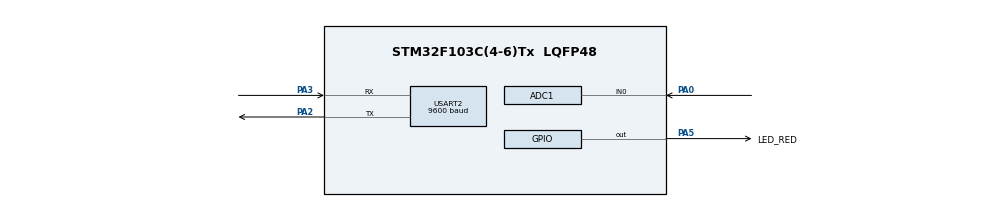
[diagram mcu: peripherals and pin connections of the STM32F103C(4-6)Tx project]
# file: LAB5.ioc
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ADC1.Channel-0\#ChannelRegularConversion=ADC_CHANNEL_0
ADC1.ContinuousConvMode=ENABLE
ADC1.NbrOfConversionFlag=1
ADC1.Rank-0\#ChannelRegularConversion=1
ADC1.SamplingTime-0\#ChannelRegularConversion=ADC_SAMPLETIME_1CYCLE_5
ADC1.master=1
Mcu.Family=STM32F1
Mcu.Name=STM32F103C(4-6)Tx
Mcu.Package=LQFP48
NVIC.PriorityGroup=NVIC_PRIORITYGROUP_4
NVIC.TIM2_IRQn=true\:0\:0\:false\:false\:true\:true\:true
NVIC.USART2_IRQn=true\:0\:0\:false\:false\:true\:true\:true
PA0-WKUP.Signal=ADCx_IN0
PA13.Mode=Serial_Wire
PA13.Signal=SYS_JTMS-SWDIO
PA14.Mode=Serial_Wire
PA14.Signal=SYS_JTCK-SWCLK
PA2.Mode=Asynchronous
PA2.Signal=USART2_TX
PA3.Mode=Asynchronous
PA3.Signal=USART2_RX
PA5.GPIO_Label=LED_RED
PA5.Signal=GPIO_Output
ProjectManager.HeapSize=0x200
ProjectManager.StackSize=0x400
ProjectManager.TargetToolchain=STM32CubeIDE
RCC.APB1Freq_Value=8000000
RCC.APB2Freq_Value=8000000
SH.ADCx_IN0.0=ADC1_IN0,IN0
TIM2.Period=9
TIM2.Prescaler=7999
USART2.BaudRate=9600
USART2.VirtualMode=VM_ASYNC
VP_TIM2_VS_ClockSourceINT.Mode=Internal
board=custom

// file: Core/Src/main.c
/* USER CODE BEGIN Header */
/**
  ******************************************************************************
  * @file           : main.c
  * @brief          : Main program body
  ******************************************************************************
  * @attention
  *
  * <h2><center>&copy; Copyright (c) 2023 STMicroelectronics.
  * All rights reserved.</center></h2>
  *
  * This software component is licensed by ST under BSD 3-Clause license,
  * the "License"; You may not use this file except in compliance with the
  * License. You may obtain a copy of the License at:
  *                        opensource.org/licenses/BSD-3-Clause
  *
  ******************************************************************************
  */
/* USER CODE END Header */
#include "main.h"

/* USER CODE BEGIN Includes */
#include "command_parser_fsm.h"
#include "uart_communiation_fsm.h"
/* USER CODE END Includes */

ADC_HandleTypeDef hadc1;
UART_HandleTypeDef huart2;
TIM_HandleTypeDef htim2;

void SystemClock_Config(void);
static void MX_GPIO_Init(void);
static void MX_ADC1_Init(void);
static void MX_USART2_UART_Init(void);
static void MX_TIM2_Init(void);

/* USER CODE BEGIN 0 */

void HAL_UART_RxCpltCallback(UART_HandleTypeDef *huart){
	if(huart->Instance == USART2){
		HAL_UART_Transmit(&huart2, &tmp, 1, 50);
		buffer[index_buffer ++] = tmp ;
		if(index_buffer == 30) index_buffer = 0;
		buffer_flag = 1;
		HAL_UART_Receive_IT(&huart2, &tmp, 1);
	  }
  }
/* USER CODE END 0 */

int main(void)
{

  /* MCU Configuration--------------------------------------------------------*/

  /* Reset of all peripherals, Initializes the Flash interface and the Systick. */
  HAL_Init();

  /* Configure the system clock */
  SystemClock_Config();

  /* Initialize all configured peripherals */
  MX_GPIO_Init();
  MX_ADC1_Init();
  MX_USART2_UART_Init();
  MX_TIM2_Init();
  /* USER CODE BEGIN 2 */
  HAL_TIM_Base_Start_IT(&htim2);
  HAL_ADC_Start(&hadc1);
  HAL_UART_Receive_IT(&huart2, &tmp, 1);
  setTimer(500);
  /* USER CODE END 2 */

  /* Infinite loop */
  /* USER CODE BEGIN WHILE */

  HAL_UART_Receive_IT (&huart2 , &tmp , 1);

  while (1)
  {
    /* USER CODE END WHILE */

    /* USER CODE BEGIN 3 */
	  if(buffer_flag == 1){
	 		 command_parser_fsm(&hadc1, &huart2);
	 		 buffer_flag = 0;
	 	 }
	 	 uart_communication_fsm(&hadc1, &huart2);
  }
  /* USER CODE END 3 */
}

void SystemClock_Config(void)
{
  RCC_OscInitTypeDef RCC_OscInitStruct = {0};
  RCC_ClkInitTypeDef RCC_ClkInitStruct = {0};
  RCC_PeriphCLKInitTypeDef PeriphClkInit = {0};

  /** Initializes the RCC Oscillators according to the specified parameters
  * in the RCC_OscInitTypeDef structure.
  */
  RCC_OscInitStruct.OscillatorType = RCC_OSCILLATORTYPE_HSI;
  RCC_OscInitStruct.HSIState = RCC_HSI_ON;
  RCC_OscInitStruct.HSICalibrationValue = RCC_HSICALIBRATION_DEFAULT;
  RCC_OscInitStruct.PLL.PLLState = RCC_PLL_NONE;
  if (HAL_RCC_OscConfig(&RCC_OscInitStruct) != HAL_OK)
  {
    Error_Handler();
  }
  /** Initializes the CPU, AHB and APB buses clocks
  */
  RCC_ClkInitStruct.ClockType = RCC_CLOCKTYPE_HCLK|RCC_CLOCKTYPE_SYSCLK
                              |RCC_CLOCKTYPE_PCLK1|RCC_CLOCKTYPE_PCLK2;
  RCC_ClkInitStruct.SYSCLKSource = RCC_SYSCLKSOURCE_HSI;
  RCC_ClkInitStruct.AHBCLKDivider = RCC_SYSCLK_DIV1;
  RCC_ClkInitStruct.APB1CLKDivider = RCC_HCLK_DIV1;
  RCC_ClkInitStruct.APB2CLKDivider = RCC_HCLK_DIV1;

  if (HAL_RCC_ClockConfig(&RCC_ClkInitStruct, FLASH_LATENCY_0) != HAL_OK)
  {
    Error_Handler();
  }
  PeriphClkInit.PeriphClockSelection = RCC_PERIPHCLK_ADC;
  PeriphClkInit.AdcClockSelection = RCC_ADCPCLK2_DIV2;
  if (HAL_RCCEx_PeriphCLKConfig(&PeriphClkInit) != HAL_OK)
  {
    Error_Handler();
  }
}

static void MX_ADC1_Init(void)
{

  ADC_ChannelConfTypeDef sConfig = {0};

  /** Common config
  */
  hadc1.Instance = ADC1;
  hadc1.Init.ScanConvMode = ADC_SCAN_DISABLE;
  hadc1.Init.ContinuousConvMode = ENABLE;
  hadc1.Init.DiscontinuousConvMode = DISABLE;
  hadc1.Init.ExternalTrigConv = ADC_SOFTWARE_START;
  hadc1.Init.DataAlign = ADC_DATAALIGN_RIGHT;
  hadc1.Init.NbrOfConversion = 1;
  if (HAL_ADC_Init(&hadc1) != HAL_OK)
  {
    Error_Handler();
  }
  /** Configure Regular Channel
  */
  sConfig.Channel = ADC_CHANNEL_0;
  sConfig.Rank = ADC_REGULAR_RANK_1;
  sConfig.SamplingTime = ADC_SAMPLETIME_1CYCLE_5;
  if (HAL_ADC_ConfigChannel(&hadc1, &sConfig) != HAL_OK)
  {
    Error_Handler();
  }

}

static void MX_TIM2_Init(void)
{

  TIM_ClockConfigTypeDef sClockSourceConfig = {0};
  TIM_MasterConfigTypeDef sMasterConfig = {0};

  htim2.Instance = TIM2;
  htim2.Init.Prescaler = 7999;
  htim2.Init.CounterMode = TIM_COUNTERMODE_UP;
  htim2.Init.Period = 9;
  htim2.Init.ClockDivision = TIM_CLOCKDIVISION_DIV1;
  htim2.Init.AutoReloadPreload = TIM_AUTORELOAD_PRELOAD_DISABLE;
  if (HAL_TIM_Base_Init(&htim2) != HAL_OK)
  {
    Error_Handler();
  }
  sClockSourceConfig.ClockSource = TIM_CLOCKSOURCE_INTERNAL;
  if (HAL_TIM_ConfigClockSource(&htim2, &sClockSourceConfig) != HAL_OK)
  {
    Error_Handler();
  }
  sMasterConfig.MasterOutputTrigger = TIM_TRGO_RESET;
  sMasterConfig.MasterSlaveMode = TIM_MASTERSLAVEMODE_DISABLE;
  if (HAL_TIMEx_MasterConfigSynchronization(&htim2, &sMasterConfig) != HAL_OK)
  {
    Error_Handler();
  }

}

static void MX_USART2_UART_Init(void)
{

  huart2.Instance = USART2;
  huart2.Init.BaudRate = 9600;
  huart2.Init.WordLength = UART_WORDLENGTH_8B;
  huart2.Init.StopBits = UART_STOPBITS_1;
  huart2.Init.Parity = UART_PARITY_NONE;
  huart2.Init.Mode = UART_MODE_TX_RX;
  huart2.Init.HwFlowCtl = UART_HWCONTROL_NONE;
  huart2.Init.OverSampling = UART_OVERSAMPLING_16;
  if (HAL_UART_Init(&huart2) != HAL_OK)
  {
    Error_Handler();
  }

}

static void MX_GPIO_Init(void)
{
  GPIO_InitTypeDef GPIO_InitStruct = {0};

  /* GPIO Ports Clock Enable */
  __HAL_RCC_GPIOA_CLK_ENABLE();

  /*Configure GPIO pin Output Level */
  HAL_GPIO_WritePin(LED_RED_GPIO_Port, LED_RED_Pin, GPIO_PIN_RESET);

  /*Configure GPIO pin : LED_RED_Pin */
  GPIO_InitStruct.Pin = LED_RED_Pin;
  GPIO_InitStruct.Mode = GPIO_MODE_OUTPUT_PP;
  GPIO_InitStruct.Pull = GPIO_NOPULL;
  GPIO_InitStruct.Speed = GPIO_SPEED_FREQ_LOW;
  HAL_GPIO_Init(LED_RED_GPIO_Port, &GPIO_InitStruct);

}

/* USER CODE BEGIN 4 */
void HAL_TIM_PeriodElapsedCallback(TIM_HandleTypeDef *htim){
	timerRun();
}
/* USER CODE END 4 */

void Error_Handler(void)
{
  __disable_irq();
  while (1)
  {
  }
}

/************************ (C) COPYRIGHT STMicroelectronics *****END OF FILE****/
